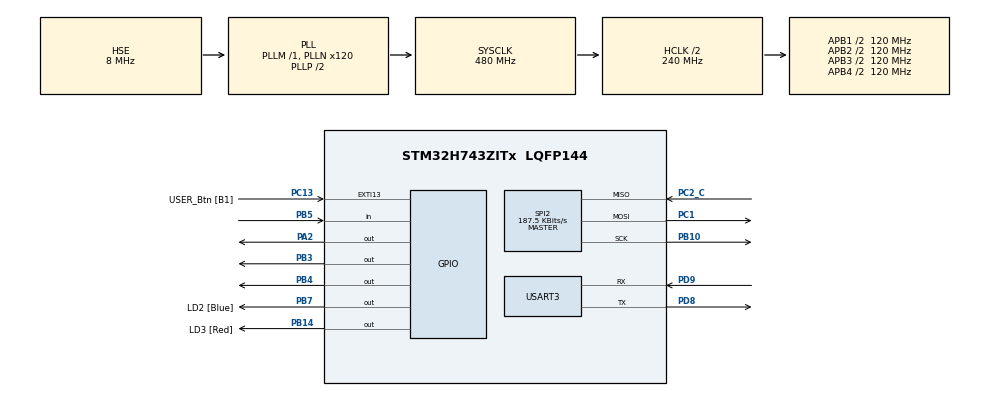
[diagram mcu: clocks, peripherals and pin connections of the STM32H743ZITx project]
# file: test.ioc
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Mcu.Family=STM32H7
Mcu.Name=STM32H743ZITx
Mcu.Package=LQFP144
NVIC.PriorityGroup=NVIC_PRIORITYGROUP_4
PA2.Signal=GPIO_Output
PB10.Mode=Full_Duplex_Master
PB10.Signal=SPI2_SCK
PB14.GPIO_Label=LD3 [Red]
PB14.Signal=GPIO_Output
PB3\ (JTDO/TRACESWO).Signal=GPIO_Output
PB4\ (NJTRST).GPIO_ModeDefaultOutputPP=GPIO_MODE_OUTPUT_OD
PB4\ (NJTRST).PinState=GPIO_PIN_SET
PB4\ (NJTRST).Signal=GPIO_Output
PB5.Signal=GPIO_Input
PB7.GPIO_Label=LD2 [Blue]
PB7.Signal=GPIO_Output
PC1.Mode=Full_Duplex_Master
PC1.Signal=SPI2_MOSI
PC13.GPIO_Label=USER_Btn [B1]
PC13.Signal=GPXTI13
PC14-OSC32_IN\ (OSC32_IN).Mode=LSE-External-Oscillator
PC14-OSC32_IN\ (OSC32_IN).Signal=RCC_OSC32_IN
PC15-OSC32_OUT\ (OSC32_OUT).Mode=LSE-External-Oscillator
PC15-OSC32_OUT\ (OSC32_OUT).Signal=RCC_OSC32_OUT
PC2_C.Mode=Full_Duplex_Master
PC2_C.Signal=SPI2_MISO
PD8.Mode=Asynchronous
PD8.Signal=USART3_TX
PD9.GPIO_ModeDefaultPP=GPIO_MODE_AF_OD
PD9.GPIO_PuPd=GPIO_NOPULL
PD9.Mode=Asynchronous
PD9.Signal=USART3_RX
PH0-OSC_IN\ (PH0).GPIO_Label=MCO
PH0-OSC_IN\ (PH0).Mode=HSE-External-Clock-Source
PH0-OSC_IN\ (PH0).Signal=RCC_OSC_IN
PH1-OSC_OUT\ (PH1).Mode=HSE-External-Clock-Source
PH1-OSC_OUT\ (PH1).Signal=RCC_OSC_OUT
ProjectManager.HeapSize=0x200
ProjectManager.StackSize=0x400
ProjectManager.TargetToolchain=MDK-ARM V5
RCC.48MHZClocksFreq_Value=24000000
RCC.ADCFreq_Value=16125000
RCC.AHBFreq_Value=216000000
RCC.APB1CLKDivider=RCC_HCLK_DIV4
RCC.APB1Freq_Value=120000000
RCC.APB1TimFreq_Value=108000000
RCC.APB2CLKDivider=RCC_HCLK_DIV2
RCC.APB2Freq_Value=120000000
RCC.APB2TimFreq_Value=216000000
RCC.APB3Freq_Value=120000000
RCC.APB4Freq_Value=120000000
RCC.CortexFreq_Value=480000000
RCC.D1PPRE=RCC_APB3_DIV2
RCC.D2PPRE1=RCC_APB1_DIV2
RCC.D2PPRE2=RCC_APB2_DIV2
RCC.D3PPRE=RCC_APB4_DIV2
RCC.DIVM1=1
RCC.DIVN1=120
RCC.DIVQ1=20
RCC.HCLKFreq_Value=240000000
RCC.HPRE=RCC_HCLK_DIV2
RCC.HSE_VALUE=8000000
RCC.HSI_VALUE=64000000
RCC.PLLFRACN=0
RCC.PLLM=25
RCC.PLLMUL=RCC_PLL_MUL9
RCC.PLLN=432
RCC.PLLQ=9
RCC.PLLSourceVirtual=RCC_PLLSOURCE_HSE
RCC.PRESCALERUSB=RCC_USBCLKSOURCE_PLL_DIV1_5
RCC.PWR_Regulator_Voltage_Scale=PWR_REGULATOR_VOLTAGE_SCALE0
RCC.SYSCLKFreq_VALUE=480000000
RCC.SYSCLKSource=RCC_SYSCLKSOURCE_PLLCLK
RCC.SYSCLKSourceVirtual=RCC_SYSCLKSOURCE_PLLCLK
RCC.USBFreq_Value=48000000
RCC.VCOOutputFreq_Value=432000000
SPI2.BaudRatePrescaler=SPI_BAUDRATEPRESCALER_256
SPI2.CLKPhase=SPI_PHASE_2EDGE
SPI2.CLKPolarity=SPI_POLARITY_LOW
SPI2.CRCCalculation=SPI_CRCCALCULATION_ENABLE
SPI2.CalculateBaudRate=187.5 KBits/s
SPI2.DataSize=SPI_DATASIZE_8BIT
SPI2.Direction=SPI_DIRECTION_2LINES
SPI2.Mode=SPI_MODE_MASTER
SPI2.VirtualType=VM_MASTER
USART3.VirtualMode-Asynchronous=VM_ASYNC
board=NUCLEO-H743ZI

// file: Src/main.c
/* USER CODE BEGIN Header */
/**
  ******************************************************************************
  * @file           : main.c
  * @brief          : Main program body
  ******************************************************************************
  * @attention
  *
  * <h2><center>&copy; Copyright (c) 2019 STMicroelectronics.
  * All rights reserved.</center></h2>
  *
  * This software component is licensed by ST under BSD 3-Clause license,
  * the "License"; You may not use this file except in compliance with the
  * License. You may obtain a copy of the License at:
  *                        opensource.org/licenses/BSD-3-Clause
  *
  ******************************************************************************
  */
/* USER CODE END Header */

#include "main.h"
#include "spi.h"
#include "usart.h"
#include "gpio.h"

/* USER CODE BEGIN Includes */
#include "ADS1256.h"
#include "stdio.h"
/* USER CODE END Includes */

/* USER CODE BEGIN PD */
/* Retargeting printf() output to Usart3 */

#ifdef __GNUC__

#define PUTCHAR_PROTOTYPE int __io_putchar(int ch)

#else

#define PUTCHAR_PROTOTYPE int fputc(int ch, FILE *f)

#endif

int fputc(int ch,FILE *f)

{

    uint8_t temp[1]={ch};

    HAL_UART_Transmit(&huart3,temp,1,10);        //UartHandle??????

		return ch;

}

PUTCHAR_PROTOTYPE

{

	HAL_UART_Transmit(&huart3,(uint8_t*)&ch,1,10);

	return ch;

}

/* USER CODE END PD */

void SystemClock_Config(void);

int main(void)
{

  /* MCU Configuration--------------------------------------------------------*/

  /* Reset of all peripherals, Initializes the Flash interface and the Systick. */
  HAL_Init();

  /* Configure the system clock */
  SystemClock_Config();

  /* Initialize all configured peripherals */
  MX_GPIO_Init();
  MX_SPI2_Init();
  MX_USART3_UART_Init();
  /* USER CODE BEGIN 2 */

	long double ldVolutage;
	unsigned char i=0;
	long ulResult;

	//Delay(0x1ffFF);

  HAL_GPIO_WritePin(GPIOB,GPIO_RCC_ADS1256Reset ,GPIO_PIN_SET);

	ADS1256_Init();

	//printf("233\n");
  /* USER CODE END 2 */

  /* Infinite loop */
  /* USER CODE BEGIN WHILE */
  while (1)
  {
		ldVolutage = ADS1256ReadData();
//		for(i = 0;i < 8;i++)
//		{
//			 ulResult = ADS_sum( (i << 4) | ADS1256_MUXN_AINCOM);
//			//ulResult = ADS_sum( ADS1256_MUXP_AIN0 | ADS1256_MUXN_AINCOM);
//			if( ulResult & 0x800000 )
//			{
//			 	ulResult = ~(unsigned long)ulResult;
//				ulResult &= 0x7fffff;
//				ulResult += 1;
//				ulResult = -ulResult;
//			}
//
//			ldVolutage = (long double)ulResult*0.59604644775390625;

//			printf("第%d通道:",(i & 0x07)?(i & 0x07) - 1:7);
		printf("%lf",ldVolutage); 	//double
		printf("uV\r\n");

			HAL_Delay(100);

			//printf("%x",(unsigned long)ulResult);//16
			//Delay(0x3fFFF);
	//	}
	//		printf("123456\n");
    /* USER CODE END WHILE */

  }
}

void SystemClock_Config(void)
{
  RCC_OscInitTypeDef RCC_OscInitStruct = {0};
  RCC_ClkInitTypeDef RCC_ClkInitStruct = {0};
  RCC_PeriphCLKInitTypeDef PeriphClkInitStruct = {0};

  /** Supply configuration update enable
  */
  HAL_PWREx_ConfigSupply(PWR_LDO_SUPPLY);
  /** Configure the main internal regulator output voltage
  */
  __HAL_PWR_VOLTAGESCALING_CONFIG(PWR_REGULATOR_VOLTAGE_SCALE0);

  while(!__HAL_PWR_GET_FLAG(PWR_FLAG_VOSRDY)) {}
  /** Initializes the CPU, AHB and APB busses clocks
  */
  RCC_OscInitStruct.OscillatorType = RCC_OSCILLATORTYPE_HSE;
  RCC_OscInitStruct.HSEState = RCC_HSE_BYPASS;
  RCC_OscInitStruct.PLL.PLLState = RCC_PLL_ON;
  RCC_OscInitStruct.PLL.PLLSource = RCC_PLLSOURCE_HSE;
  RCC_OscInitStruct.PLL.PLLM = 1;
  RCC_OscInitStruct.PLL.PLLN = 120;
  RCC_OscInitStruct.PLL.PLLP = 2;
  RCC_OscInitStruct.PLL.PLLQ = 20;
  RCC_OscInitStruct.PLL.PLLR = 2;
  RCC_OscInitStruct.PLL.PLLRGE = RCC_PLL1VCIRANGE_3;
  RCC_OscInitStruct.PLL.PLLVCOSEL = RCC_PLL1VCOWIDE;
  RCC_OscInitStruct.PLL.PLLFRACN = 0;
  if (HAL_RCC_OscConfig(&RCC_OscInitStruct) != HAL_OK)
  {
    Error_Handler();
  }
  /** Initializes the CPU, AHB and APB busses clocks
  */
  RCC_ClkInitStruct.ClockType = RCC_CLOCKTYPE_HCLK|RCC_CLOCKTYPE_SYSCLK
                              |RCC_CLOCKTYPE_PCLK1|RCC_CLOCKTYPE_PCLK2
                              |RCC_CLOCKTYPE_D3PCLK1|RCC_CLOCKTYPE_D1PCLK1;
  RCC_ClkInitStruct.SYSCLKSource = RCC_SYSCLKSOURCE_PLLCLK;
  RCC_ClkInitStruct.SYSCLKDivider = RCC_SYSCLK_DIV1;
  RCC_ClkInitStruct.AHBCLKDivider = RCC_HCLK_DIV2;
  RCC_ClkInitStruct.APB3CLKDivider = RCC_APB3_DIV2;
  RCC_ClkInitStruct.APB1CLKDivider = RCC_APB1_DIV2;
  RCC_ClkInitStruct.APB2CLKDivider = RCC_APB2_DIV2;
  RCC_ClkInitStruct.APB4CLKDivider = RCC_APB4_DIV2;

  if (HAL_RCC_ClockConfig(&RCC_ClkInitStruct, FLASH_LATENCY_4) != HAL_OK)
  {
    Error_Handler();
  }
  PeriphClkInitStruct.PeriphClockSelection = RCC_PERIPHCLK_USART3|RCC_PERIPHCLK_SPI2;
  PeriphClkInitStruct.Spi123ClockSelection = RCC_SPI123CLKSOURCE_PLL;
  PeriphClkInitStruct.Usart234578ClockSelection = RCC_USART234578CLKSOURCE_D2PCLK1;
  if (HAL_RCCEx_PeriphCLKConfig(&PeriphClkInitStruct) != HAL_OK)
  {
    Error_Handler();
  }
}

void Error_Handler(void)
{
}

/************************ (C) COPYRIGHT STMicroelectronics *****END OF FILE****/
